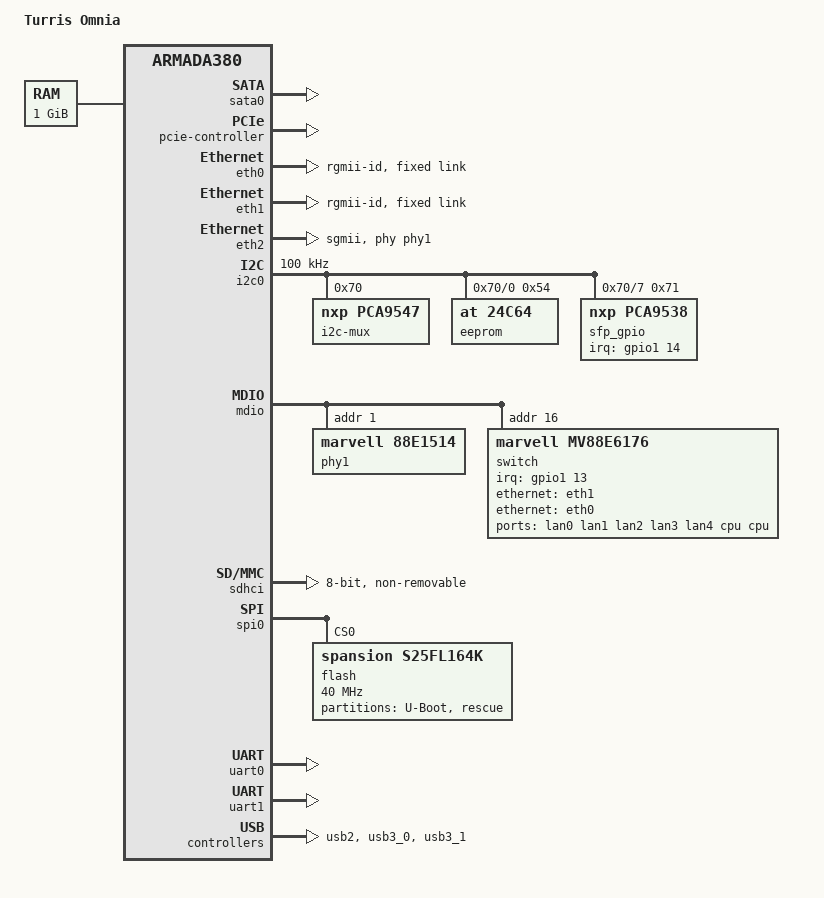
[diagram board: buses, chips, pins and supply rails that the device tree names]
/dts-v1/;

#include "armada-385.dtsi"

/ {
	model = "Turris Omnia";
	compatible = "marvell,armada385", "marvell,armada380";

	chosen {
		stdout-path = "serial0:115200n8";
	};

	memory {
		device_type = "memory";
		reg = <0x0 0x40000000>; /* 1 GB for RTROM01 */
	};

	soc {
		ranges =
			<MBUS_ID(0xf0, 0x01) 0 0xf1000000 0x100000>,
			<MBUS_ID(0x01, 0x1d) 0 0xfff00000 0x100000>,
			<MBUS_ID(0x09, 0x19) 0 0xf1100000 0x10000>,
			<MBUS_ID(0x09, 0x15) 0 0xf1110000 0x10000>;

		internal-regs {
			sata0: sata@a8000 {
			};
		};

		pcie-controller {
			status = "okay";

			pcie@1,0 {
				status = "okay";
			};

			pcie@2,0 {
				status = "okay";
			};

			pcie@3,0 {
				status = "okay";
			};
		};
	};
};

&eth0 {
	pinctrl-names = "default";
	pinctrl-0 = <&ge0_rgmii_pins>;
	phy-mode = "rgmii-id";
	status = "okay";

	fixed-link {
		speed = <1000>;
		full-duplex;
	};
};

&eth1 {
	pinctrl-names = "default";
	pinctrl-0 = <&ge1_rgmii_pins>;
	phy-mode = "rgmii-id";
	status = "okay";

	fixed-link {
		speed = <1000>;
		full-duplex;
	};
};

&eth2 {
	phy-mode = "sgmii";
	phy = <&phy1>;
	status = "okay";
};

&i2c0 {
	pinctrl-names = "default";
	pinctrl-0 = <&i2c0_pins>;
	clock-frequency = <100000>;
	status = "okay";

	i2c-mux@70 {
		compatible = "nxp,pca9547";
		reg = <0x70>;
		#address-cells = <1>;
		#size-cells = <0>;

		i2c@0 {
			reg = <0>;
			#address-cells = <1>;
			#size-cells = <0>;

			/*mcu@2a {
				compatible = "cznic,turris-omnia-mcu";
				reg = <0x2a>;
			};*/

			eeprom@54 {
				compatible = "at,24c64";
				reg = <0x54>;
			};
		};

		/* mSATA/PCI1 */
		i2c@1 {
			reg = <1>;
			#address-cells = <1>;
			#size-cells = <0>;
		};

		/* PCI2 */
		i2c@2 {
			reg = <2>;
			#address-cells = <1>;
			#size-cells = <0>;
		};

		/* PCI3 */
		i2c@3 {
			reg = <3>;
			#address-cells = <1>;
			#size-cells = <0>;
		};

		/* SFP */
		i2c@4 {
			reg = <4>;
			#address-cells = <1>;
			#size-cells = <0>;
		};

		/* crypto */
		i2c@5 {
			reg = <5>;
			#address-cells = <1>;
			#size-cells = <0>;

			/*foo@64 {
				reg = <0x64>;
			};*/
		};

		/* GPIO pin header */
		i2c@6 {
			reg = <6>;
			#address-cells = <1>;
			#size-cells = <0>;
		};

		i2c@7 {
			reg = <7>;
			#address-cells = <1>;
			#size-cells = <0>;

			sfp_gpio: gpio@71 {
				compatible = "nxp,pca9538";
				reg = <0x71>;
				interrupt-parent = <&gpio1>;
				interrupts = <14 IRQ_TYPE_EDGE_FALLING>; /* MPP[46] */
				gpio-controller;
				#gpio-cells = <2>;
			};
		};
	};
};

&mdio {
	pinctrl-names = "default";
	pinctrl-0 = <&mdio_pins>;

	phy1: ethernet-phy@1 {
		compatible = "marvell,88e1514", "ethernet-phy-ieee802.3-c22";
		reg = <1>;
	};

	switch@10 {
		compatible = "marvell,mv88e6176";
		reg = <0x10>;
		interrupt-parent = <&gpio1>;
		interrupts = <13 IRQ_TYPE_EDGE_FALLING>; /* MPP[45] */
		interrupt-controller;
		#interrupt-cells = <2>;

		ports {
			#address-cells = <1>;
			#size-cells = <0>;

			port@0 {
				reg = <0>;
				label = "lan0";

				fixed-link {
					speed = <1000>;
					full-duplex;
				};
			};

			port@1 {
				reg = <1>;
				label = "lan1";

				fixed-link {
					speed = <1000>;
					full-duplex;
				};
			};

			port@2 {
				reg = <2>;
				label = "lan2";

				fixed-link {
					speed = <1000>;
					full-duplex;
				};
			};

			port@3 {
				reg = <3>;
				label = "lan3";

				fixed-link {
					speed = <1000>;
					full-duplex;
				};
			};

			port@4 {
				reg = <4>;
				label = "lan4";

				fixed-link {
					speed = <1000>;
					full-duplex;
				};
			};

			port@5 {
				reg = <5>;
				label = "cpu";
				ethernet = <&eth1>;

				fixed-link {
					speed = <1000>;
					full-duplex;
				};
			};

			port@6 {
				reg = <6>;
				label = "cpu";
				ethernet = <&eth0>;

				fixed-link {
					speed = <1000>;
					full-duplex;
				};
			};
		};
	};
};

/* mSATA */
&sata0 {
	status = "okay";
};

/* eMMC */
&sdhci {
	bus-width = <8>;
	no-1-8-v;
	non-removable;
	status = "okay";
};

&spi0 {
	status = "okay";

	flash@0 {
		compatible = "spansion,s25fl164k", "jedec,spi-nor";
		reg = <0>;
		spi-max-frequency = <40000000>;
		#address-cells = <1>;
		#size-cells = <1>;

		partition@000000 {
			reg = <0x00000000 0x00100000>;
			label = "U-Boot";
		};

		partition@100000 {
			reg = <0x00100000 0x00700000>;
			label = "rescue";
		};
	};
};

/* serial pin header */
&uart0 {
	pinctrl-names = "default";
	pinctrl-0 = <&uart0_pins>;
	status = "okay";
};

/* GPIO pin header */
&uart1 {
	pinctrl-names = "default";
	pinctrl-0 = <&uart1_pins>;
	status = "okay";
};

/* mSATA/PCI1/PCI2/PCI3 */
&usb2 {
	status = "okay";
};

/* front USB port */
&usb3_0 {
	status = "okay";
};

/* rear USB port */
&usb3_1 {
	status = "okay";
};
